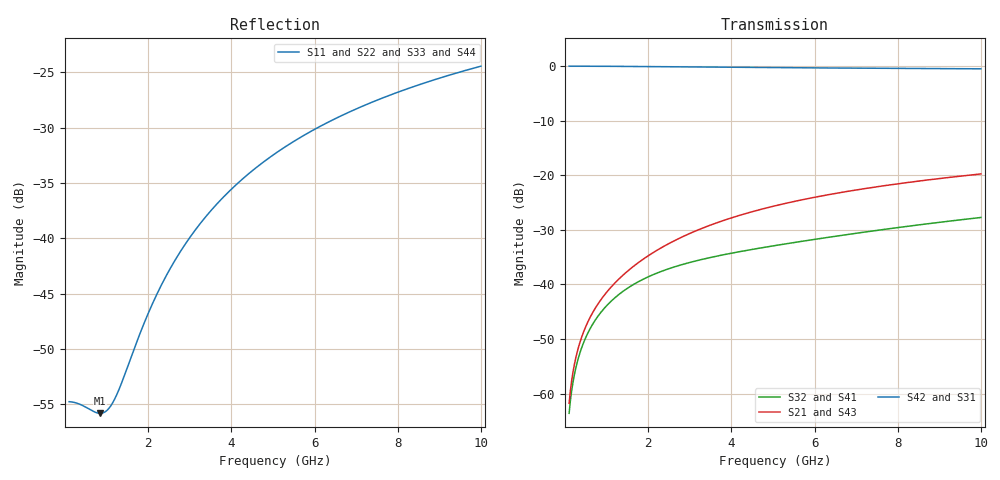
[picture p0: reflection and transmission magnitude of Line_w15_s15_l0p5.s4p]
! TOUCHSTONE file generated by CST MICROWAVE STUDIO
! Date and time: Mon Oct 20 16:07:56 2014
! Project name: Untitled_1.cst
# GHZ S MA R 50
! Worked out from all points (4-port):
!   1001 points, 100 MHz to 10 GHz, reference 50 ohm
!   strongest paths, dB at 100 MHz, 2.575 GHz, 5.05 GHz, 7.525 GHz, 10 GHz:
!     S42: 0.0, -0.1, -0.3, -0.4, -0.5
!     S31: 0.0, -0.1, -0.3, -0.4, -0.5
!     S21: -61.8, -32.2, -25.6, -22.1, -19.8
!     S43: -61.8, -32.2, -25.6, -22.1, -19.8
!     S32: -63.6, -36.9, -32.9, -30.1, -27.7
!     S41: -63.6, -36.9, -32.9, -30.1, -27.7
!   lowest |S11| = -55.8 dB at 842.5 MHz (marker M1), VSWR 1.00, Z = 50.1 - j0.146 ohm
!   |S11| at or under -10 dB: start of sweep to end of sweep
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0.1  0.001827 -5.4  0.0008154 90.4  0.9981 -0.2  0.0006598 -91.1
     0.0008154 90.4  0.001827 -5.5  0.0006598 -91.1  0.9981 -0.2
     0.9981 -0.2  0.0006597 -91.1  0.001826 -5.4  0.0008154 90.4
     0.0006598 -91.1  0.9981 -0.2  0.0008154 90.4  0.001827 -5.5
0.3673  0.001775 -21.5  0.003006 91.6  0.9978 -0.9  0.002408 -93.9
        0.003006 91.6  0.00178 -21.8  0.002408 -93.9  0.9978 -0.9
        0.9978 -0.9  0.002408 -93.9  0.001775 -21.5  0.003006 91.6
        0.002408 -93.9  0.9978 -0.9  0.003006 91.6  0.00178 -21.8
0.8425  0.001619 -63.9  0.007051 93.5  0.9962 -1.9  0.005417 -98.5
        0.007051 93.5  0.001642 -64.3  0.005417 -98.5  0.9962 -1.9
        0.9962 -1.9  0.005417 -98.5  0.001618 -63.9  0.007051 93.5
        0.005417 -98.5  0.9962 -1.9  0.007051 93.5  0.001643 -64.3
2.1394  0.005237 -169.4  0.01977 94.5  0.9887 -4.7  0.01237 -108.8
        0.01977 94.5  0.005247 -168.7  0.01237 -108.8  0.9887 -4.7
        0.9887 -4.7  0.01237 -108.8  0.005239 -169.4  0.01977 94.5
        0.01237 -108.8  0.9887 -4.7  0.01977 94.5  0.005245 -168.6
4.1491  0.0177 148.4  0.04237 89.0  0.9742 -8.4  0.01979 -115.5
        0.04237 89.0  0.01763 148.9  0.01979 -115.5  0.9742 -8.4
        0.9742 -8.4  0.01979 -115.5  0.01771 148.5  0.04237 89.0
        0.01979 -115.5  0.9742 -8.4  0.04237 89.0  0.01762 148.9
6.5746  0.03529 124.4  0.06889 81.4  0.9595 -12.4  0.02787 -116.8
        0.06889 81.4  0.03512 124.6  0.02787 -116.8  0.9595 -12.4
        0.9595 -12.4  0.02787 -116.8  0.03531 124.4  0.06889 81.4
        0.02787 -116.8  0.9595 -12.4  0.06889 81.4  0.0351 124.6
10  0.05998 103.8  0.1028 72.8  0.9439 -17.8  0.04102 -120.4
    0.1028 72.8  0.05967 103.9  0.04103 -120.4  0.944 -17.8
    0.9439 -17.8  0.04103 -120.4  0.06 103.8  0.1028 72.9
    0.04102 -120.4  0.944 -17.8  0.1028 72.9  0.05964 103.9
